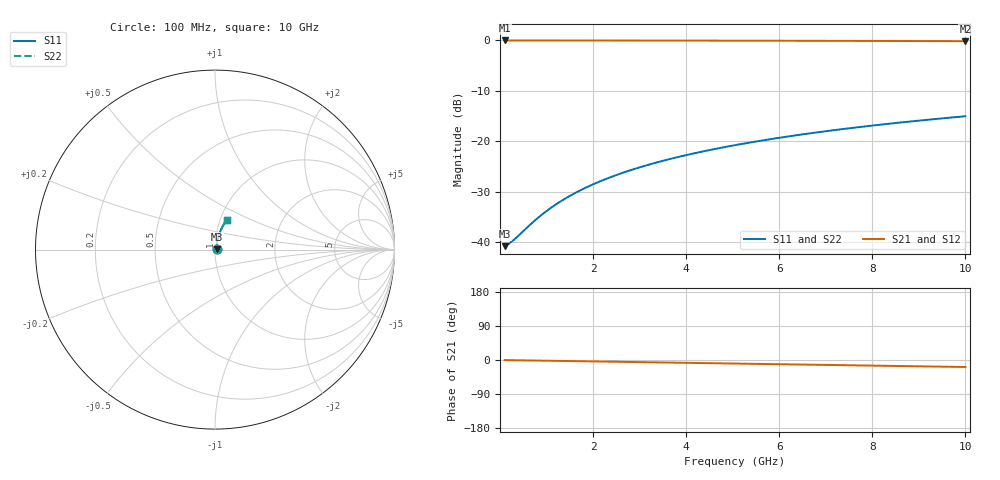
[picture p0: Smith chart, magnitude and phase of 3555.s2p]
# Hz S RI R 50.00
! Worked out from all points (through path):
!   100 points, 100 MHz to 10 GHz, reference 50 ohm
!   highest |S21| = -0.08 dB at 100 MHz (marker M1); lowest = -0.2 dB at 10 GHz (marker M2)
!   group delay of S21, straight-line fit = 5.13 ps
!   lowest |S11| = -40.8 dB at 100 MHz (marker M3), VSWR 1.02, Z = 50.9 + j0.181 ohm
!   |S11| at or under -10 dB: start of sweep to end of sweep
!   |S22| runs from -40.8 to -15.1 dB; largest |S21 - S12| = 0
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1e8  0.00892 0.00178  0.9911 -0.00322  0.9911 -0.00322  0.00892 0.00178
2e8  0.00899 0.00355  0.991 -0.00644  0.991 -0.00644  0.00899 0.00355
3e8  0.00906 0.00533  0.9909 -0.00966  0.9909 -0.00966  0.00906 0.00533
6e8  0.00931 0.0107  0.9906 -0.0193  0.9906 -0.0193  0.00931 0.0107
8e8  0.00951 0.0142  0.9904 -0.0258  0.9904 -0.0258  0.00951 0.0142
9e8  0.00963 0.016  0.9903 -0.029  0.9903 -0.029  0.00963 0.016
1.1e9  0.0099 0.0195  0.99 -0.0354  0.99 -0.0354  0.0099 0.0195
1.4e9  0.0104 0.0248  0.9894 -0.0451  0.9894 -0.0451  0.0104 0.0248
1.6e9  0.0107 0.0283  0.989 -0.0515  0.989 -0.0515  0.0107 0.0283
1.8e9  0.0112 0.0319  0.9885 -0.0579  0.9885 -0.0579  0.0112 0.0319
2.1e9  0.0119 0.0371  0.9876 -0.0675  0.9876 -0.0675  0.0119 0.0371
2.5e9  0.013 0.0441  0.9863 -0.0803  0.9863 -0.0803  0.013 0.0441
2.9e9  0.0142 0.0511  0.9848 -0.0931  0.9848 -0.0931  0.0142 0.0511
3.4e9  0.0161 0.0598  0.9826 -0.1089  0.9826 -0.1089  0.0161 0.0598
3.8e9  0.0178 0.0666  0.9807 -0.1216  0.9807 -0.1216  0.0178 0.0666
4.2e9  0.0196 0.0734  0.9785 -0.1342  0.9785 -0.1342  0.0196 0.0734
5.1e9  0.0244 0.0886  0.9728 -0.1624  0.9728 -0.1624  0.0244 0.0886
5.9e9  0.0294 0.1017  0.9669 -0.1872  0.9669 -0.1872  0.0294 0.1017
6.7e9  0.035 0.1146  0.9601 -0.2116  0.9601 -0.2116  0.035 0.1146
7.5e9  0.0413 0.1271  0.9527 -0.2358  0.9527 -0.2358  0.0413 0.1271
8.4e9  0.0491 0.1407  0.9433 -0.2625  0.9433 -0.2625  0.0491 0.1407
1e10  0.0647 0.1636  0.9245 -0.3087  0.9245 -0.3087  0.0647 0.1636
